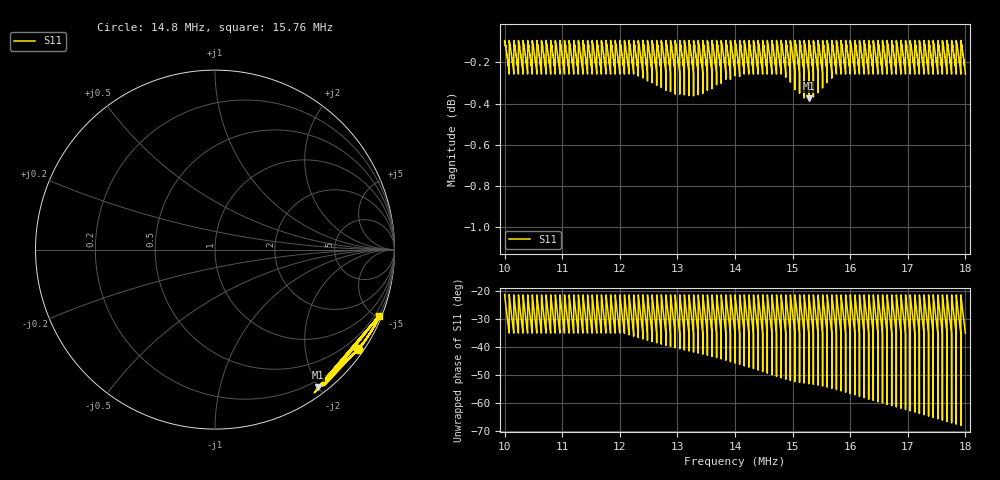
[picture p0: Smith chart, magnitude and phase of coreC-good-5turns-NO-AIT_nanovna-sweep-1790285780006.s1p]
! NanoVNA Web complex sweep
! Processing: unaveraged complex samples; linear segment spacing; no smoothing
# Hz S RI R 50
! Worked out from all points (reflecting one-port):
!   10100 points, 10 MHz to 18 MHz, reference 50 ohm
!   lowest |S11| = -0.4 dB at 15.28 MHz (marker M1), VSWR 46.45, Z = 5.35 - j99.5 ohm
!   phase of S11 starts at -21 deg and turns -14 deg over the sweep
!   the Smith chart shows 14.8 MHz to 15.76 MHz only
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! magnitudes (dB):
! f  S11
! 10 MHz  -0.1
! 10.01 MHz  -0.1
! 10.01 MHz  -0.1
! 10.01 MHz  -0.1
! 10.02 MHz  -0.1
! 10.03 MHz  -0.1
! 10.03 MHz  -0.2
! 10.04 MHz  -0.2
! 11 MHz  -0.2
! 12 MHz  -0.2
! 13 MHz  -0.2
! 13.48 MHz  -0.2
! 14 MHz  -0.3
! 14.68 MHz  -0.2
! 15 MHz  -0.2
! 15 MHz  -0.2
! 15.28 MHz  -0.4
! 16 MHz  -0.2
! 16.36 MHz  -0.2
! 17 MHz  -0.2
! 17.96 MHz  -0.2
! 17.96 MHz  -0.2
! 17.97 MHz  -0.2
! 17.98 MHz  -0.2
! 17.98 MHz  -0.2
! 17.99 MHz  -0.2
! 17.99 MHz  -0.2
! 18 MHz  -0.3
